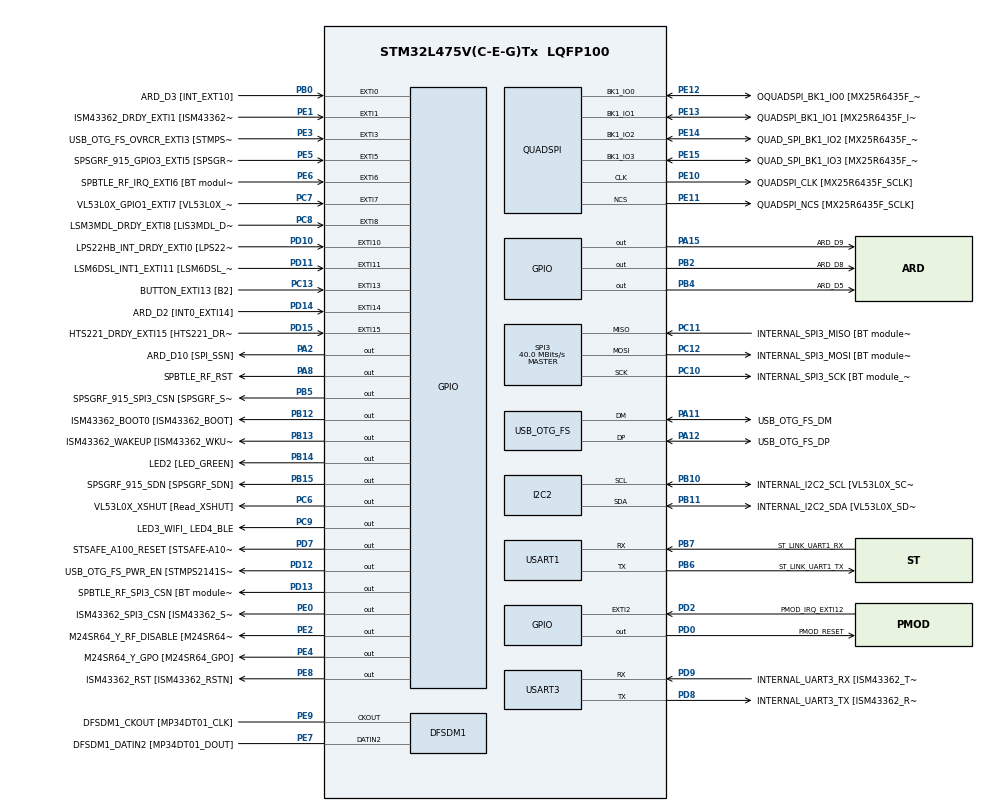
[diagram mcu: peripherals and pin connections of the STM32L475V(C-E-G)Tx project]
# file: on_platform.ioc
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Mcu.Family=STM32L4
Mcu.Name=STM32L475V(C-E-G)Tx
Mcu.Package=LQFP100
NVIC.EXTI15_10_IRQn=true\:0\:0\:false\:false\:true\:true\:true\:true
NVIC.EXTI9_5_IRQn=true\:0\:0\:false\:false\:true\:true\:true\:true
NVIC.PriorityGroup=NVIC_PRIORITYGROUP_4
PA0.GPIO_Label=ARD_D1 [UART4_TX]
PA0.Signal=UART4_TX
PA1.GPIO_Label=ARD_D0 [UART4_RX]
PA1.Signal=UART4_RX
PA10.GPIO_Label=USB_OTG_FS_ID
PA10.Signal=USB_OTG_FS_ID
PA11.GPIO_Label=USB_OTG_FS_DM
PA11.Mode=Device_Only
PA11.Signal=USB_OTG_FS_DM
PA12.GPIO_Label=USB_OTG_FS_DP
PA12.Mode=Device_Only
PA12.Signal=USB_OTG_FS_DP
PA13\ (JTMS-SWDIO).GPIO_Label=SYS_JTMS_SWDIO
PA13\ (JTMS-SWDIO).Mode=Serial_Wire
PA13\ (JTMS-SWDIO).Signal=SYS_JTMS-SWDIO
PA14\ (JTCK-SWCLK).GPIO_Label=SYS_JTCK_SWCLK
PA14\ (JTCK-SWCLK).Mode=Serial_Wire
PA14\ (JTCK-SWCLK).Signal=SYS_JTCK-SWCLK
PA15\ (JTDI).GPIO_Label=ARD_D9
PA15\ (JTDI).Signal=GPIO_Output
PA2.GPIO_Label=ARD_D10 [SPI_SSN]
PA2.Signal=GPIO_Output
PA3.GPIO_Label=ARD_D4
PA3.Signal=S_TIM2_CH4
PA4.GPIO_Label=ARD_D7
PA4.Signal=ADCx_IN9
PA5.GPIO_Label=ARD_D13 [SPI1_SCK]
PA5.Signal=SPI1_SCK
PA6.GPIO_Label=ARD_D12 [SPI1_MISO]
PA6.Signal=SPI1_MISO
PA7.GPIO_Label=ARD_D11 [SPI1_MOSI]
PA7.Signal=SPI1_MOSI
PA8.GPIO_Label=SPBTLE_RF_RST
PA8.Signal=GPIO_Output
PA9.GPIO_Label=USB_OTG_FS_VBUS [STMPS2141STR_OUT]
PA9.Signal=USB_OTG_FS_VBUS
PB0.GPIO_Label=ARD_D3 [INT_EXT10]
PB0.Signal=GPXTI0
PB1.GPIO_Label=ARD_D6 [ADC1_IN6]
PB1.Signal=ADCx_IN16
PB10.GPIO_Label=INTERNAL_I2C2_SCL [VL53L0X_SCL]
PB10.GPIO_Pu=GPIO_PULLUP
PB10.Mode=I2C
PB10.Signal=I2C2_SCL
PB11.GPIO_Label=INTERNAL_I2C2_SDA [VL53L0X_SDA]
PB11.GPIO_Pu=GPIO_PULLUP
PB11.Mode=I2C
PB11.Signal=I2C2_SDA
PB12.GPIO_Label=ISM43362_BOOT0 [ISM43362_BOOT]
PB12.Signal=GPIO_Output
PB13.GPIO_Label=ISM43362_WAKEUP [ISM43362_WKUP]
PB13.Signal=GPIO_Output
PB14.GPIO_Label=LED2 [LED_GREEN]
PB14.Signal=GPIO_Output
PB15.GPIO_Label=SPSGRF_915_SDN [SPSGRF_SDN]
PB15.Signal=GPIO_Output
PB2.GPIO_Label=ARD_D8
PB2.Signal=GPIO_Output
PB3\ (JTDO-TRACESWO).GPIO_Label=SYS_JTD0_SWO
PB3\ (JTDO-TRACESWO).Signal=SYS_JTDO-SWO
PB4\ (NJTRST).GPIO_Label=ARD_D5
PB4\ (NJTRST).Signal=GPIO_Output
PB5.GPIO_Label=SPSGRF_915_SPI3_CSN [SPSGRF_SPI_CS]
PB5.PinState=GPIO_PIN_SET
PB5.Signal=GPIO_Output
PB6.GPIO_Label=ST_LINK_UART1_TX
PB6.Mode=Asynchronous
PB6.Signal=USART1_TX
PB7.GPIO_Label=ST_LINK_UART1_RX
PB7.Mode=Asynchronous
PB7.Signal=USART1_RX
PB8.GPIO_Label=ARD_D15 [I2C1_SCL]
PB8.Signal=I2C1_SCL
PB9.GPIO_Label=ARD_D14 [I2C1_SDA]
PB9.Signal=I2C1_SDA
PC0.GPIO_Label=ARD_A5 [ADC]
PC0.Signal=ADCx_IN1
PC1.GPIO_Label=ARD_A4 [ADC]
PC1.Signal=ADCx_IN2
PC10.GPIO_Label=INTERNAL_SPI3_SCK [BT module_SPI_SCLK] [ISM43362_SCK]
PC10.Mode=Full_Duplex_Master
PC10.Signal=SPI3_SCK
PC11.GPIO_Label=INTERNAL_SPI3_MISO [BT module_SPI_MISO] [ISM43362_MISO]
PC11.Mode=Full_Duplex_Master
PC11.Signal=SPI3_MISO
PC12.GPIO_Label=INTERNAL_SPI3_MOSI [BT module_SPI_MOSI] [ISM43362_MOSI]
PC12.Mode=Full_Duplex_Master
PC12.Signal=SPI3_MOSI
PC13.GPIO_Label=BUTTON_EXTI13 [B2]
PC13.GPIO_ModeDefaultEXTI=GPIO_MODE_IT_FALLING
PC13.Signal=GPXTI13
PC14-OSC32_IN\ (PC14).Mode=LSE-External-Oscillator
PC14-OSC32_IN\ (PC14).Signal=RCC_OSC32_IN
PC15-OSC32_OUT\ (PC15).Mode=LSE-External-Oscillator
PC15-OSC32_OUT\ (PC15).Signal=RCC_OSC32_OUT
PC2.GPIO_Label=ARD_A3 [ADC]
PC2.Signal=ADCx_IN3
PC3.GPIO_Label=ARD_A2 [ADC]
PC3.Signal=ADCx_IN4
PC4.GPIO_Label=ARD_A1 [ADC]
PC4.Signal=ADCx_IN13
PC5.GPIO_Label=ARD_A0 [ADC]
PC5.Signal=ADCx_IN14
PC6.GPIO_Label=VL53L0X_XSHUT [Read_XSHUT]
PC6.Signal=GPIO_Output
PC7.GPIO_Label=VL53L0X_GPIO1_EXTI7 [VL53L0X_GPIO1]
PC7.Signal=GPXTI7
PC8.GPIO_Label=LSM3MDL_DRDY_EXTI8 [LIS3MDL_DRDY]
PC8.Signal=GPXTI8
PC9.GPIO_Label=LED3_WIFI_ LED4_BLE
PC9.Signal=GPIO_Output
PD0.GPIO_Label=PMOD_RESET
PD0.Signal=GPIO_Output
PD1.GPIO_Label=PMOD_SPI2_SCK
PD1.Signal=SPI2_SCK
PD10.GPIO_Label=LPS22HB_INT_DRDY_EXTI0 [LPS22HB_INT_DRDY] 
PD10.Signal=GPXTI10
PD11.GPIO_Label=LSM6DSL_INT1_EXTI11 [LSM6DSL_INT1]
PD11.Signal=GPXTI11
PD12.GPIO_Label=USB_OTG_FS_PWR_EN [STMPS2141STR_EN]
PD12.Signal=GPIO_Output
PD13.GPIO_Label=SPBTLE_RF_SPI3_CSN [BT module_SPI_CS]
PD13.PinState=GPIO_PIN_SET
PD13.Signal=GPIO_Output
PD14.GPIO_Label=ARD_D2 [INT0_EXTI14]
PD14.Signal=GPXTI14
PD15.GPIO_Label=HTS221_DRDY_EXTI15 [HTS221_DRDY]
PD15.Signal=GPXTI15
PD2.GPIO_Label=PMOD_IRQ_EXTI12
PD2.Signal=GPXTI2
PD3.GPIO_Label=PMOD_UART2_CTS
PD3.Signal=USART2_CTS
PD4.GPIO_Label=PMOD_UART2_RTS
PD4.Signal=USART2_RTS
PD5.GPIO_Label=PMOD_UART2_TX
PD5.Signal=USART2_TX
PD6.GPIO_Label=PMOD_UART2_RX
PD6.Signal=USART2_RX
PD7.GPIO_Label=STSAFE_A100_RESET [STSAFE-A100_RESET]
PD7.Signal=GPIO_Output
PD8.GPIO_Label=INTERNAL_UART3_TX [ISM43362_RX]
PD8.Mode=Asynchronous
PD8.Signal=USART3_TX
PD9.GPIO_Label=INTERNAL_UART3_RX [ISM43362_TX]
PD9.Mode=Asynchronous
PD9.Signal=USART3_RX
PE0.GPIO_Label=ISM43362_SPI3_CSN [ISM43362_SSN]
PE0.PinState=GPIO_PIN_SET
PE0.Signal=GPIO_Output
PE1.GPIO_Label=ISM43362_DRDY_EXTI1 [ISM43362_DATARDY]
PE1.Signal=GPXTI1
PE10.GPIO_Label=QUADSPI_CLK [MX25R6435F_SCLK]
PE10.Mode=Single Bank
PE10.Signal=QUADSPI_CLK
PE11.GPIO_Label=QUADSPI_NCS [MX25R6435F_SCLK]
PE11.Mode=Single Bank
PE11.Signal=QUADSPI_NCS
PE12.GPIO_Label=OQUADSPI_BK1_IO0 [MX25R6435F_IO0]
PE12.Mode=Single Bank
PE12.Signal=QUADSPI_BK1_IO0
PE13.GPIO_Label=QUADSPI_BK1_IO1 [MX25R6435F_IO1]
PE13.Mode=Single Bank
PE13.Signal=QUADSPI_BK1_IO1
PE14.GPIO_Label=QUAD_SPI_BK1_IO2 [MX25R6435F_IO2]
PE14.Mode=Single Bank
PE14.Signal=QUADSPI_BK1_IO2
PE15.GPIO_Label=QUAD_SPI_BK1_IO3 [MX25R6435F_IO3]
PE15.Mode=Single Bank
PE15.Signal=QUADSPI_BK1_IO3
PE2.GPIO_Label=M24SR64_Y_RF_DISABLE [M24SR64_RFDIS]
PE2.Signal=GPIO_Output
PE3.GPIO_Label=USB_OTG_FS_OVRCR_EXTI3 [STMPS2141STR_FAULT]
PE3.Signal=GPXTI3
PE4.GPIO_Label=M24SR64_Y_GPO [M24SR64_GPO]
PE4.Signal=GPIO_Output
PE5.GPIO_Label=SPSGRF_915_GPIO3_EXTI5 [SPSGRF_GPIO_3]
PE5.Signal=GPXTI5
PE6.GPIO_Label=SPBTLE_RF_IRQ_EXTI6 [BT module_SPI_IRQ]
PE6.Signal=GPXTI6
PE7.GPIO_Label=DFSDM1_DATIN2 [MP34DT01_DOUT]
PE7.Signal=S_DATAIN2DFSDM1
PE8.GPIO_Label=ISM43362_RST [ISM43362_RSTN]
PE8.Signal=GPIO_Output
PE9.GPIO_Label=DFSDM1_CKOUT [MP34DT01_CLK]
PE9.Signal=S_CKOUTDFSDM1
ProjectManager.HeapSize=0x200
ProjectManager.StackSize=0x400
ProjectManager.TargetToolchain=STM32CubeIDE
QUADSPI.ClockPrescaler=2
QUADSPI.FifoThreshold=4
QUADSPI.FlashSize=23
QUADSPI.SampleShifting=QSPI_SAMPLE_SHIFTING_HALFCYCLE
RCC.ADCFreq_Value=48000000
RCC.AHBFreq_Value=80000000
RCC.APB1Freq_Value=80000000
RCC.APB1TimFreq_Value=80000000
RCC.APB2Freq_Value=80000000
RCC.APB2TimFreq_Value=80000000
RCC.CortexFreq_Value=80000000
RCC.HCLKFreq_Value=80000000
RCC.HSE_VALUE=8000000
RCC.HSI_VALUE=16000000
RCC.MSI_VALUE=4000000
RCC.PLLN=40
RCC.PLLSAI1N=24
RCC.SYSCLKFreq_VALUE=80000000
RCC.SYSCLKSource=RCC_SYSCLKSOURCE_PLLCLK
RCC.USBFreq_Value=48000000
RCC.VCOOutputFreq_Value=160000000
SH.ADCx_IN1.0=ADC1_IN1
SH.ADCx_IN13.0=ADC1_IN13
SH.ADCx_IN14.0=ADC1_IN14
SH.ADCx_IN16.0=ADC1_IN16
SH.ADCx_IN2.0=ADC1_IN2
SH.ADCx_IN3.0=ADC1_IN3
SH.ADCx_IN4.0=ADC1_IN4
SH.ADCx_IN9.0=ADC1_IN9
SH.S_CKOUTDFSDM1.0=DFSDM1_CKOUT,CKOUT
SH.S_CKOUTDFSDM1.1=DFSDM1_CKOUT,PDM_SPI_Input_from_ch12_and_Internal_Clock
SH.S_DATAIN2DFSDM1.0=DFSDM1_DATIN2,PDM_SPI_Input_from_ch12_and_Internal_Clock
SH.S_TIM2_CH4.0=TIM2_CH4
SPI3.CalculateBaudRate=40.0 MBits/s
SPI3.Direction=SPI_DIRECTION_2LINES
SPI3.Mode=SPI_MODE_MASTER
SPI3.VirtualType=VM_MASTER
USART1.VirtualMode-Asynchronous=VM_ASYNC
USART3.VirtualMode-Asynchronous=VM_ASYNC
USB_OTG_FS.VirtualMode=Device_Only
VP_RNG_VS_RNG.Mode=RNG_Activate
board=B-L475E-IOT01A1

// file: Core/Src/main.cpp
/* USER CODE BEGIN Header */
/**
 ******************************************************************************
 * @file           : main.c
 * @brief          : Main program body
 ******************************************************************************
 * @attention
 *
 * Copyright (c) 2023 STMicroelectronics.
 * All rights reserved.
 *
 * This software is licensed under terms that can be found in the LICENSE file
 * in the root directory of this software component.
 * If no LICENSE file comes with this software, it is provided AS-IS.
 *
 ******************************************************************************
 */
/* USER CODE END Header */
#include "main.h"
#include "unity.h"

/* USER CODE BEGIN Includes */
#ifdef __cplusplus
extern "C"
{
#endif
void test_lalloc_1();
void test_random_1();
void test_random_2();
void test_random_3();
void test_random();

void setUp(){}
void tearDown(){}

#ifdef __cplusplus
}
#endif

/* USER CODE END Includes */

DFSDM_Channel_HandleTypeDef hdfsdm1_channel1;
I2C_HandleTypeDef hi2c2;
QSPI_HandleTypeDef hqspi;
RNG_HandleTypeDef hrng;
SPI_HandleTypeDef hspi3;
UART_HandleTypeDef huart1;
UART_HandleTypeDef huart3;
PCD_HandleTypeDef hpcd_USB_OTG_FS;

void SystemClock_Config( void );
void PeriphCommonClock_Config( void );
static void MX_GPIO_Init( void );
static void MX_DFSDM1_Init( void );
static void MX_I2C2_Init( void );
static void MX_QUADSPI_Init( void );
static void MX_SPI3_Init( void );
static void MX_USART1_UART_Init( void );
static void MX_USART3_UART_Init( void );
static void MX_USB_OTG_FS_PCD_Init( void );
static void MX_RNG_Init( void );

int main( void )
{

    /* MCU Configuration--------------------------------------------------------*/

    /* Reset of all peripherals, Initializes the Flash interface and the Systick. */
    HAL_Init();

    /* Configure the system clock */
    SystemClock_Config();

    /* Configure the peripherals common clocks */
    PeriphCommonClock_Config();

    /* Initialize all configured peripherals */
    MX_GPIO_Init();
    MX_DFSDM1_Init();
    MX_I2C2_Init();
    MX_QUADSPI_Init();
    MX_SPI3_Init();
    MX_USART1_UART_Init();
    MX_USART3_UART_Init();
    MX_USB_OTG_FS_PCD_Init();
    MX_RNG_Init();

    /* Infinite loop */
    while ( 1 )
    {
        /* USER CODE BEGIN 3 */
        RUN_TEST( test_lalloc_1 );
        RUN_TEST( test_random_1 );
        RUN_TEST( test_random_2 );
        RUN_TEST( test_random_3 );
        RUN_TEST( test_random );
    }
    /* USER CODE END 3 */
}

void SystemClock_Config( void )
{
    RCC_OscInitTypeDef RCC_OscInitStruct = {0};
    RCC_ClkInitTypeDef RCC_ClkInitStruct = {0};

    /** Configure the main internal regulator output voltage
     */
    if ( HAL_PWREx_ControlVoltageScaling( PWR_REGULATOR_VOLTAGE_SCALE1 ) != HAL_OK )
    {
        Error_Handler();
    }

    /** Configure LSE Drive Capability
     */
    HAL_PWR_EnableBkUpAccess();
    __HAL_RCC_LSEDRIVE_CONFIG( RCC_LSEDRIVE_LOW );

    /** Initializes the RCC Oscillators according to the specified parameters
     * in the RCC_OscInitTypeDef structure.
     */
    RCC_OscInitStruct.OscillatorType = RCC_OSCILLATORTYPE_LSE | RCC_OSCILLATORTYPE_MSI;
    RCC_OscInitStruct.LSEState = RCC_LSE_ON;
    RCC_OscInitStruct.MSIState = RCC_MSI_ON;
    RCC_OscInitStruct.MSICalibrationValue = 0;
    RCC_OscInitStruct.MSIClockRange = RCC_MSIRANGE_6;
    RCC_OscInitStruct.PLL.PLLState = RCC_PLL_ON;
    RCC_OscInitStruct.PLL.PLLSource = RCC_PLLSOURCE_MSI;
    RCC_OscInitStruct.PLL.PLLM = 1;
    RCC_OscInitStruct.PLL.PLLN = 40;
    RCC_OscInitStruct.PLL.PLLP = RCC_PLLP_DIV7;
    RCC_OscInitStruct.PLL.PLLQ = RCC_PLLQ_DIV2;
    RCC_OscInitStruct.PLL.PLLR = RCC_PLLR_DIV2;
    if ( HAL_RCC_OscConfig( &RCC_OscInitStruct ) != HAL_OK )
    {
        Error_Handler();
    }

    /** Initializes the CPU, AHB and APB buses clocks
     */
    RCC_ClkInitStruct.ClockType = RCC_CLOCKTYPE_HCLK | RCC_CLOCKTYPE_SYSCLK | RCC_CLOCKTYPE_PCLK1 | RCC_CLOCKTYPE_PCLK2;
    RCC_ClkInitStruct.SYSCLKSource = RCC_SYSCLKSOURCE_PLLCLK;
    RCC_ClkInitStruct.AHBCLKDivider = RCC_SYSCLK_DIV1;
    RCC_ClkInitStruct.APB1CLKDivider = RCC_HCLK_DIV1;
    RCC_ClkInitStruct.APB2CLKDivider = RCC_HCLK_DIV1;

    if ( HAL_RCC_ClockConfig( &RCC_ClkInitStruct, FLASH_LATENCY_4 ) != HAL_OK )
    {
        Error_Handler();
    }

    /** Enable MSI Auto calibration
     */
    HAL_RCCEx_EnableMSIPLLMode();
}

void PeriphCommonClock_Config( void )
{
    RCC_PeriphCLKInitTypeDef PeriphClkInit = {0};

    /** Initializes the peripherals clock
     */
    PeriphClkInit.PeriphClockSelection = RCC_PERIPHCLK_USB | RCC_PERIPHCLK_RNG;
    PeriphClkInit.UsbClockSelection = RCC_USBCLKSOURCE_PLLSAI1;
    PeriphClkInit.RngClockSelection = RCC_RNGCLKSOURCE_PLLSAI1;
    PeriphClkInit.PLLSAI1.PLLSAI1Source = RCC_PLLSOURCE_MSI;
    PeriphClkInit.PLLSAI1.PLLSAI1M = 1;
    PeriphClkInit.PLLSAI1.PLLSAI1N = 24;
    PeriphClkInit.PLLSAI1.PLLSAI1P = RCC_PLLP_DIV7;
    PeriphClkInit.PLLSAI1.PLLSAI1Q = RCC_PLLQ_DIV2;
    PeriphClkInit.PLLSAI1.PLLSAI1R = RCC_PLLR_DIV2;
    PeriphClkInit.PLLSAI1.PLLSAI1ClockOut = RCC_PLLSAI1_48M2CLK;
    if ( HAL_RCCEx_PeriphCLKConfig( &PeriphClkInit ) != HAL_OK )
    {
        Error_Handler();
    }
}

static void MX_DFSDM1_Init( void )
{

    hdfsdm1_channel1.Instance = DFSDM1_Channel1;
    hdfsdm1_channel1.Init.OutputClock.Activation = ENABLE;
    hdfsdm1_channel1.Init.OutputClock.Selection = DFSDM_CHANNEL_OUTPUT_CLOCK_SYSTEM;
    hdfsdm1_channel1.Init.OutputClock.Divider = 2;
    hdfsdm1_channel1.Init.Input.Multiplexer = DFSDM_CHANNEL_EXTERNAL_INPUTS;
    hdfsdm1_channel1.Init.Input.DataPacking = DFSDM_CHANNEL_STANDARD_MODE;
    hdfsdm1_channel1.Init.Input.Pins = DFSDM_CHANNEL_FOLLOWING_CHANNEL_PINS;
    hdfsdm1_channel1.Init.SerialInterface.Type = DFSDM_CHANNEL_SPI_RISING;
    hdfsdm1_channel1.Init.SerialInterface.SpiClock = DFSDM_CHANNEL_SPI_CLOCK_INTERNAL;
    hdfsdm1_channel1.Init.Awd.FilterOrder = DFSDM_CHANNEL_FASTSINC_ORDER;
    hdfsdm1_channel1.Init.Awd.Oversampling = 1;
    hdfsdm1_channel1.Init.Offset = 0;
    hdfsdm1_channel1.Init.RightBitShift = 0x00;
    if ( HAL_DFSDM_ChannelInit( &hdfsdm1_channel1 ) != HAL_OK )
    {
        Error_Handler();
    }
}

static void MX_I2C2_Init( void )
{

    hi2c2.Instance = I2C2;
    hi2c2.Init.Timing = 0x00000E14;
    hi2c2.Init.OwnAddress1 = 0;
    hi2c2.Init.AddressingMode = I2C_ADDRESSINGMODE_7BIT;
    hi2c2.Init.DualAddressMode = I2C_DUALADDRESS_DISABLE;
    hi2c2.Init.OwnAddress2 = 0;
    hi2c2.Init.OwnAddress2Masks = I2C_OA2_NOMASK;
    hi2c2.Init.GeneralCallMode = I2C_GENERALCALL_DISABLE;
    hi2c2.Init.NoStretchMode = I2C_NOSTRETCH_DISABLE;
    if ( HAL_I2C_Init( &hi2c2 ) != HAL_OK )
    {
        Error_Handler();
    }

    /** Configure Analogue filter
     */
    if ( HAL_I2CEx_ConfigAnalogFilter( &hi2c2, I2C_ANALOGFILTER_ENABLE ) != HAL_OK )
    {
        Error_Handler();
    }

    /** Configure Digital filter
     */
    if ( HAL_I2CEx_ConfigDigitalFilter( &hi2c2, 0 ) != HAL_OK )
    {
        Error_Handler();
    }
}

static void MX_QUADSPI_Init( void )
{

    /* QUADSPI parameter configuration*/
    hqspi.Instance = QUADSPI;
    hqspi.Init.ClockPrescaler = 2;
    hqspi.Init.FifoThreshold = 4;
    hqspi.Init.SampleShifting = QSPI_SAMPLE_SHIFTING_HALFCYCLE;
    hqspi.Init.FlashSize = 23;
    hqspi.Init.ChipSelectHighTime = QSPI_CS_HIGH_TIME_1_CYCLE;
    hqspi.Init.ClockMode = QSPI_CLOCK_MODE_0;
    if ( HAL_QSPI_Init( &hqspi ) != HAL_OK )
    {
        Error_Handler();
    }
}

static void MX_RNG_Init( void )
{

    hrng.Instance = RNG;
    if ( HAL_RNG_Init( &hrng ) != HAL_OK )
    {
        Error_Handler();
    }
}

static void MX_SPI3_Init( void )
{

    /* SPI3 parameter configuration*/
    hspi3.Instance = SPI3;
    hspi3.Init.Mode = SPI_MODE_MASTER;
    hspi3.Init.Direction = SPI_DIRECTION_2LINES;
    hspi3.Init.DataSize = SPI_DATASIZE_4BIT;
    hspi3.Init.CLKPolarity = SPI_POLARITY_LOW;
    hspi3.Init.CLKPhase = SPI_PHASE_1EDGE;
    hspi3.Init.NSS = SPI_NSS_SOFT;
    hspi3.Init.BaudRatePrescaler = SPI_BAUDRATEPRESCALER_2;
    hspi3.Init.FirstBit = SPI_FIRSTBIT_MSB;
    hspi3.Init.TIMode = SPI_TIMODE_DISABLE;
    hspi3.Init.CRCCalculation = SPI_CRCCALCULATION_DISABLE;
    hspi3.Init.CRCPolynomial = 7;
    hspi3.Init.CRCLength = SPI_CRC_LENGTH_DATASIZE;
    hspi3.Init.NSSPMode = SPI_NSS_PULSE_ENABLE;
    if ( HAL_SPI_Init( &hspi3 ) != HAL_OK )
    {
        Error_Handler();
    }
}

static void MX_USART1_UART_Init( void )
{

    huart1.Instance = USART1;
    huart1.Init.BaudRate = 115200;
    huart1.Init.WordLength = UART_WORDLENGTH_8B;
    huart1.Init.StopBits = UART_STOPBITS_1;
    huart1.Init.Parity = UART_PARITY_NONE;
    huart1.Init.Mode = UART_MODE_TX_RX;
    huart1.Init.HwFlowCtl = UART_HWCONTROL_NONE;
    huart1.Init.OverSampling = UART_OVERSAMPLING_16;
    huart1.Init.OneBitSampling = UART_ONE_BIT_SAMPLE_DISABLE;
    huart1.AdvancedInit.AdvFeatureInit = UART_ADVFEATURE_NO_INIT;
    if ( HAL_UART_Init( &huart1 ) != HAL_OK )
    {
        Error_Handler();
    }
}

static void MX_USART3_UART_Init( void )
{

    huart3.Instance = USART3;
    huart3.Init.BaudRate = 115200;
    huart3.Init.WordLength = UART_WORDLENGTH_8B;
    huart3.Init.StopBits = UART_STOPBITS_1;
    huart3.Init.Parity = UART_PARITY_NONE;
    huart3.Init.Mode = UART_MODE_TX_RX;
    huart3.Init.HwFlowCtl = UART_HWCONTROL_NONE;
    huart3.Init.OverSampling = UART_OVERSAMPLING_16;
    huart3.Init.OneBitSampling = UART_ONE_BIT_SAMPLE_DISABLE;
    huart3.AdvancedInit.AdvFeatureInit = UART_ADVFEATURE_NO_INIT;
    if ( HAL_UART_Init( &huart3 ) != HAL_OK )
    {
        Error_Handler();
    }
}

static void MX_USB_OTG_FS_PCD_Init( void )
{

    hpcd_USB_OTG_FS.Instance = USB_OTG_FS;
    hpcd_USB_OTG_FS.Init.dev_endpoints = 6;
    hpcd_USB_OTG_FS.Init.speed = PCD_SPEED_FULL;
    hpcd_USB_OTG_FS.Init.phy_itface = PCD_PHY_EMBEDDED;
    hpcd_USB_OTG_FS.Init.Sof_enable = DISABLE;
    hpcd_USB_OTG_FS.Init.low_power_enable = DISABLE;
    hpcd_USB_OTG_FS.Init.lpm_enable = DISABLE;
    hpcd_USB_OTG_FS.Init.battery_charging_enable = DISABLE;
    hpcd_USB_OTG_FS.Init.use_dedicated_ep1 = DISABLE;
    hpcd_USB_OTG_FS.Init.vbus_sensing_enable = DISABLE;
    if ( HAL_PCD_Init( &hpcd_USB_OTG_FS ) != HAL_OK )
    {
        Error_Handler();
    }
}

static void MX_GPIO_Init( void )
{
    GPIO_InitTypeDef GPIO_InitStruct = {0};

    /* GPIO Ports Clock Enable */
    __HAL_RCC_GPIOE_CLK_ENABLE();
    __HAL_RCC_GPIOC_CLK_ENABLE();
    __HAL_RCC_GPIOA_CLK_ENABLE();
    __HAL_RCC_GPIOB_CLK_ENABLE();
    __HAL_RCC_GPIOD_CLK_ENABLE();

    /*Configure GPIO pin Output Level */
    HAL_GPIO_WritePin( GPIOE, M24SR64_Y_RF_DISABLE_Pin | M24SR64_Y_GPO_Pin | ISM43362_RST_Pin, GPIO_PIN_RESET );

    /*Configure GPIO pin Output Level */
    HAL_GPIO_WritePin( GPIOA, ARD_D10_Pin | SPBTLE_RF_RST_Pin | ARD_D9_Pin, GPIO_PIN_RESET );

    /*Configure GPIO pin Output Level */
    HAL_GPIO_WritePin( GPIOB, ARD_D8_Pin | ISM43362_BOOT0_Pin | ISM43362_WAKEUP_Pin | LED2_Pin | SPSGRF_915_SDN_Pin | ARD_D5_Pin, GPIO_PIN_RESET );

    /*Configure GPIO pin Output Level */
    HAL_GPIO_WritePin( GPIOD, USB_OTG_FS_PWR_EN_Pin | PMOD_RESET_Pin | STSAFE_A100_RESET_Pin, GPIO_PIN_RESET );

    /*Configure GPIO pin Output Level */
    HAL_GPIO_WritePin( SPBTLE_RF_SPI3_CSN_GPIO_Port, SPBTLE_RF_SPI3_CSN_Pin, GPIO_PIN_SET );

    /*Configure GPIO pin Output Level */
    HAL_GPIO_WritePin( GPIOC, VL53L0X_XSHUT_Pin | LED3_WIFI__LED4_BLE_Pin, GPIO_PIN_RESET );

    /*Configure GPIO pin Output Level */
    HAL_GPIO_WritePin( SPSGRF_915_SPI3_CSN_GPIO_Port, SPSGRF_915_SPI3_CSN_Pin, GPIO_PIN_SET );

    /*Configure GPIO pin Output Level */
    HAL_GPIO_WritePin( ISM43362_SPI3_CSN_GPIO_Port, ISM43362_SPI3_CSN_Pin, GPIO_PIN_SET );

    /*Configure GPIO pins : M24SR64_Y_RF_DISABLE_Pin M24SR64_Y_GPO_Pin ISM43362_RST_Pin ISM43362_SPI3_CSN_Pin */
    GPIO_InitStruct.Pin = M24SR64_Y_RF_DISABLE_Pin | M24SR64_Y_GPO_Pin | ISM43362_RST_Pin | ISM43362_SPI3_CSN_Pin;
    GPIO_InitStruct.Mode = GPIO_MODE_OUTPUT_PP;
    GPIO_InitStruct.Pull = GPIO_NOPULL;
    GPIO_InitStruct.Speed = GPIO_SPEED_FREQ_LOW;
    HAL_GPIO_Init( GPIOE, &GPIO_InitStruct );

    /*Configure GPIO pins : USB_OTG_FS_OVRCR_EXTI3_Pin SPSGRF_915_GPIO3_EXTI5_Pin SPBTLE_RF_IRQ_EXTI6_Pin ISM43362_DRDY_EXTI1_Pin */
    GPIO_InitStruct.Pin = USB_OTG_FS_OVRCR_EXTI3_Pin | SPSGRF_915_GPIO3_EXTI5_Pin | SPBTLE_RF_IRQ_EXTI6_Pin | ISM43362_DRDY_EXTI1_Pin;
    GPIO_InitStruct.Mode = GPIO_MODE_IT_RISING;
    GPIO_InitStruct.Pull = GPIO_NOPULL;
    HAL_GPIO_Init( GPIOE, &GPIO_InitStruct );

    /*Configure GPIO pin : BUTTON_EXTI13_Pin */
    GPIO_InitStruct.Pin = BUTTON_EXTI13_Pin;
    GPIO_InitStruct.Mode = GPIO_MODE_IT_FALLING;
    GPIO_InitStruct.Pull = GPIO_NOPULL;
    HAL_GPIO_Init( BUTTON_EXTI13_GPIO_Port, &GPIO_InitStruct );

    /*Configure GPIO pins : ARD_A5_Pin ARD_A4_Pin ARD_A3_Pin ARD_A2_Pin
                             ARD_A1_Pin ARD_A0_Pin */
    GPIO_InitStruct.Pin = ARD_A5_Pin | ARD_A4_Pin | ARD_A3_Pin | ARD_A2_Pin | ARD_A1_Pin | ARD_A0_Pin;
    GPIO_InitStruct.Mode = GPIO_MODE_ANALOG_ADC_CONTROL;
    GPIO_InitStruct.Pull = GPIO_NOPULL;
    HAL_GPIO_Init( GPIOC, &GPIO_InitStruct );

    /*Configure GPIO pins : ARD_D1_Pin ARD_D0_Pin */
    GPIO_InitStruct.Pin = ARD_D1_Pin | ARD_D0_Pin;
    GPIO_InitStruct.Mode = GPIO_MODE_AF_PP;
    GPIO_InitStruct.Pull = GPIO_NOPULL;
    GPIO_InitStruct.Speed = GPIO_SPEED_FREQ_VERY_HIGH;
    GPIO_InitStruct.Alternate = GPIO_AF8_UART4;
    HAL_GPIO_Init( GPIOA, &GPIO_InitStruct );

    /*Configure GPIO pins : ARD_D10_Pin SPBTLE_RF_RST_Pin ARD_D9_Pin */
    GPIO_InitStruct.Pin = ARD_D10_Pin | SPBTLE_RF_RST_Pin | ARD_D9_Pin;
    GPIO_InitStruct.Mode = GPIO_MODE_OUTPUT_PP;
    GPIO_InitStruct.Pull = GPIO_NOPULL;
    GPIO_InitStruct.Speed = GPIO_SPEED_FREQ_LOW;
    HAL_GPIO_Init( GPIOA, &GPIO_InitStruct );

    /*Configure GPIO pin : ARD_D4_Pin */
    GPIO_InitStruct.Pin = ARD_D4_Pin;
    GPIO_InitStruct.Mode = GPIO_MODE_AF_PP;
    GPIO_InitStruct.Pull = GPIO_NOPULL;
    GPIO_InitStruct.Speed = GPIO_SPEED_FREQ_LOW;
    GPIO_InitStruct.Alternate = GPIO_AF1_TIM2;
    HAL_GPIO_Init( ARD_D4_GPIO_Port, &GPIO_InitStruct );

    /*Configure GPIO pin : ARD_D7_Pin */
    GPIO_InitStruct.Pin = ARD_D7_Pin;
    GPIO_InitStruct.Mode = GPIO_MODE_ANALOG_ADC_CONTROL;
    GPIO_InitStruct.Pull = GPIO_NOPULL;
    HAL_GPIO_Init( ARD_D7_GPIO_Port, &GPIO_InitStruct );

    /*Configure GPIO pins : ARD_D13_Pin ARD_D12_Pin ARD_D11_Pin */
    GPIO_InitStruct.Pin = ARD_D13_Pin | ARD_D12_Pin | ARD_D11_Pin;
    GPIO_InitStruct.Mode = GPIO_MODE_AF_PP;
    GPIO_InitStruct.Pull = GPIO_NOPULL;
    GPIO_InitStruct.Speed = GPIO_SPEED_FREQ_VERY_HIGH;
    GPIO_InitStruct.Alternate = GPIO_AF5_SPI1;
    HAL_GPIO_Init( GPIOA, &GPIO_InitStruct );

    /*Configure GPIO pin : ARD_D3_Pin */
    GPIO_InitStruct.Pin = ARD_D3_Pin;
    GPIO_InitStruct.Mode = GPIO_MODE_IT_RISING;
    GPIO_InitStruct.Pull = GPIO_NOPULL;
    HAL_GPIO_Init( ARD_D3_GPIO_Port, &GPIO_InitStruct );

    /*Configure GPIO pin : ARD_D6_Pin */
    GPIO_InitStruct.Pin = ARD_D6_Pin;
    GPIO_InitStruct.Mode = GPIO_MODE_ANALOG_ADC_CONTROL;
    GPIO_InitStruct.Pull = GPIO_NOPULL;
    HAL_GPIO_Init( ARD_D6_GPIO_Port, &GPIO_InitStruct );

    /*Configure GPIO pins : ARD_D8_Pin ISM43362_BOOT0_Pin ISM43362_WAKEUP_Pin LED2_Pin
                             SPSGRF_915_SDN_Pin ARD_D5_Pin SPSGRF_915_SPI3_CSN_Pin */
    GPIO_InitStruct.Pin = ARD_D8_Pin | ISM43362_BOOT0_Pin | ISM43362_WAKEUP_Pin | LED2_Pin | SPSGRF_915_SDN_Pin | ARD_D5_Pin | SPSGRF_915_SPI3_CSN_Pin;
    GPIO_InitStruct.Mode = GPIO_MODE_OUTPUT_PP;
    GPIO_InitStruct.Pull = GPIO_NOPULL;
    GPIO_InitStruct.Speed = GPIO_SPEED_FREQ_LOW;
    HAL_GPIO_Init( GPIOB, &GPIO_InitStruct );

    /*Configure GPIO pins : LPS22HB_INT_DRDY_EXTI0_Pin LSM6DSL_INT1_EXTI11_Pin ARD_D2_Pin HTS221_DRDY_EXTI15_Pin
                             PMOD_IRQ_EXTI12_Pin */
    GPIO_InitStruct.Pin = LPS22HB_INT_DRDY_EXTI0_Pin | LSM6DSL_INT1_EXTI11_Pin | ARD_D2_Pin | HTS221_DRDY_EXTI15_Pin | PMOD_IRQ_EXTI12_Pin;
    GPIO_InitStruct.Mode = GPIO_MODE_IT_RISING;
    GPIO_InitStruct.Pull = GPIO_NOPULL;
    HAL_GPIO_Init( GPIOD, &GPIO_InitStruct );

    /*Configure GPIO pins : USB_OTG_FS_PWR_EN_Pin SPBTLE_RF_SPI3_CSN_Pin PMOD_RESET_Pin STSAFE_A100_RESET_Pin */
    GPIO_InitStruct.Pin = USB_OTG_FS_PWR_EN_Pin | SPBTLE_RF_SPI3_CSN_Pin | PMOD_RESET_Pin | STSAFE_A100_RESET_Pin;
    GPIO_InitStruct.Mode = GPIO_MODE_OUTPUT_PP;
    GPIO_InitStruct.Pull = GPIO_NOPULL;
    GPIO_InitStruct.Speed = GPIO_SPEED_FREQ_LOW;
    HAL_GPIO_Init( GPIOD, &GPIO_InitStruct );

    /*Configure GPIO pins : VL53L0X_XSHUT_Pin LED3_WIFI__LED4_BLE_Pin */
    GPIO_InitStruct.Pin = VL53L0X_XSHUT_Pin | LED3_WIFI__LED4_BLE_Pin;
    GPIO_InitStruct.Mode = GPIO_MODE_OUTPUT_PP;
    GPIO_InitStruct.Pull = GPIO_NOPULL;
    GPIO_InitStruct.Speed = GPIO_SPEED_FREQ_LOW;
    HAL_GPIO_Init( GPIOC, &GPIO_InitStruct );

    /*Configure GPIO pins : VL53L0X_GPIO1_EXTI7_Pin LSM3MDL_DRDY_EXTI8_Pin */
    GPIO_InitStruct.Pin = VL53L0X_GPIO1_EXTI7_Pin | LSM3MDL_DRDY_EXTI8_Pin;
    GPIO_InitStruct.Mode = GPIO_MODE_IT_RISING;
    GPIO_InitStruct.Pull = GPIO_NOPULL;
    HAL_GPIO_Init( GPIOC, &GPIO_InitStruct );

    /*Configure GPIO pin : PMOD_SPI2_SCK_Pin */
    GPIO_InitStruct.Pin = PMOD_SPI2_SCK_Pin;
    GPIO_InitStruct.Mode = GPIO_MODE_AF_PP;
    GPIO_InitStruct.Pull = GPIO_NOPULL;
    GPIO_InitStruct.Speed = GPIO_SPEED_FREQ_VERY_HIGH;
    GPIO_InitStruct.Alternate = GPIO_AF5_SPI2;
    HAL_GPIO_Init( PMOD_SPI2_SCK_GPIO_Port, &GPIO_InitStruct );

    /*Configure GPIO pins : PMOD_UART2_CTS_Pin PMOD_UART2_RTS_Pin PMOD_UART2_TX_Pin PMOD_UART2_RX_Pin */
    GPIO_InitStruct.Pin = PMOD_UART2_CTS_Pin | PMOD_UART2_RTS_Pin | PMOD_UART2_TX_Pin | PMOD_UART2_RX_Pin;
    GPIO_InitStruct.Mode = GPIO_MODE_AF_PP;
    GPIO_InitStruct.Pull = GPIO_NOPULL;
    GPIO_InitStruct.Speed = GPIO_SPEED_FREQ_VERY_HIGH;
    GPIO_InitStruct.Alternate = GPIO_AF7_USART2;
    HAL_GPIO_Init( GPIOD, &GPIO_InitStruct );

    /*Configure GPIO pins : ARD_D15_Pin ARD_D14_Pin */
    GPIO_InitStruct.Pin = ARD_D15_Pin | ARD_D14_Pin;
    GPIO_InitStruct.Mode = GPIO_MODE_AF_OD;
    GPIO_InitStruct.Pull = GPIO_NOPULL;
    GPIO_InitStruct.Speed = GPIO_SPEED_FREQ_VERY_HIGH;
    GPIO_InitStruct.Alternate = GPIO_AF4_I2C1;
    HAL_GPIO_Init( GPIOB, &GPIO_InitStruct );

    /* EXTI interrupt init*/
    HAL_NVIC_SetPriority( EXTI9_5_IRQn, 0, 0 );
    HAL_NVIC_EnableIRQ( EXTI9_5_IRQn );

    HAL_NVIC_SetPriority( EXTI15_10_IRQn, 0, 0 );
    HAL_NVIC_EnableIRQ( EXTI15_10_IRQn );

}

void Error_Handler( void )
{
    __disable_irq();
    while ( 1 )
    {
    }
}
